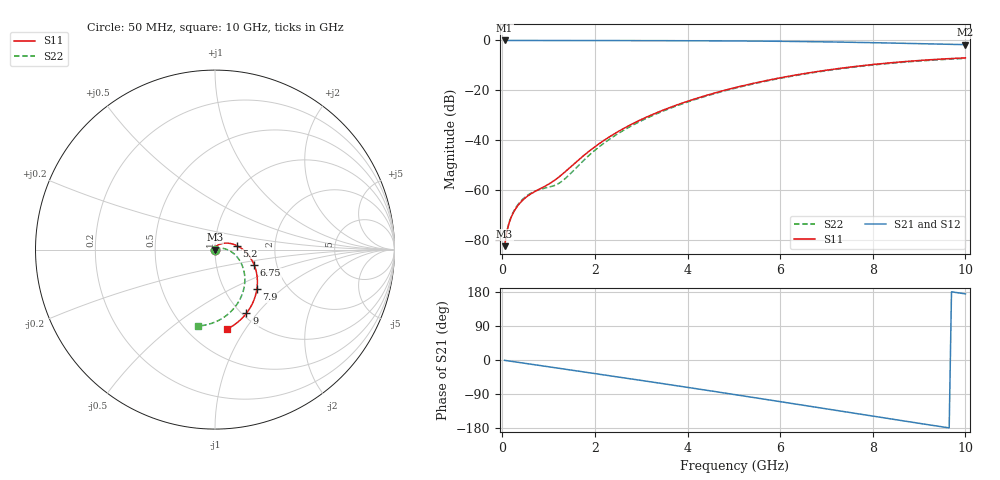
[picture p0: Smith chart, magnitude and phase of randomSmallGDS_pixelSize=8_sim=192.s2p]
! freq	dB(S11)	phase(S11)	dB(S12)	phase(S12)
!  dB(S21)	phase(S21)	dB(S22)	phase(S22)
!S-par simulation data
#  GHz  S  DB  R 50
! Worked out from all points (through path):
!   200 points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, 50 MHz to 10 GHz, reference 50 ohm
!   highest |S21| = 0.00 dB at 50 MHz (marker M1); lowest = -1.7 dB at 10 GHz (marker M2)
!   group delay of S21, straight-line fit = 51.9 ps
!   lowest |S11| = -82.6 dB at 50 MHz (marker M3), VSWR 1.00, Z = 50 - j0.00737 ohm
!   |S11| at or under -10 dB: start of sweep to 7.832 GHz
!   |S22| runs from -82.5 to -7.2 dB; largest |S21 - S12| = 0
!   S11 on the Smith chart (normalised r, x): 50 MHz: 1.00, -0.00; 5.2 GHz: 1.28, +0.06; 6.75 GHz: 1.53, -0.27; 7.9 GHz: 1.41, -0.69; 9 GHz: 1.04, -0.88; 10 GHz: 0.75, -0.83
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0.05  -82.65 -92.7  -0.00 -0.9  -0.00 -0.9  -82.46 -88.5
0.15  -73.15 -98.2  -0.00 -2.7  -0.00 -2.7  -72.92 -85.6
0.2  -70.69 -101.0  -0.00 -3.6  -0.00 -3.6  -70.43 -84.3
0.3  -67.28 -107.0  -0.01 -5.4  -0.01 -5.4  -66.95 -81.6
0.45  -64.01 -117.1  -0.01 -8.1  -0.01 -8.1  -63.63 -77.8
0.7  -60.73 -138.3  -0.02 -12.6  -0.02 -12.6  -60.60 -70.0
1.25  -54.46 155.8  -0.03 -22.4  -0.03 -22.4  -57.07 -23.3
1.75  -46.36 111.0  -0.04 -31.3  -0.04 -31.3  -48.29 15.3
2.1  -41.37 92.2  -0.04 -37.6  -0.04 -37.6  -42.61 21.6
2.45  -37.16 78.3  -0.05 -43.9  -0.05 -43.9  -38.00 21.8
2.9  -32.66 64.0  -0.06 -52.0  -0.06 -52.0  -33.22 18.3
3.4  -28.53 50.6  -0.08 -61.1  -0.08 -61.1  -28.93 12.3
4.25  -22.94 30.7  -0.12 -76.8  -0.12 -76.8  -23.22 -0.1
5.05  -18.84 13.4  -0.20 -91.8  -0.20 -91.8  -19.07 -13.2
5.2  -18.17 10.3  -0.21 -94.6  -0.21 -94.6  -18.39 -15.8
5.95  -15.19 -5.1  -0.33 -108.9  -0.33 -108.9  -15.39 -28.9
6.7  -12.77 -20.2  -0.49 -123.3  -0.49 -123.3  -12.97 -42.4
6.75  -12.63 -21.2  -0.50 -124.3  -0.50 -124.3  -12.82 -43.3
7.9  -9.86 -43.5  -0.85 -146.4  -0.85 -146.4  -10.06 -64.4
8.35  -9.03 -51.9  -1.02 -154.9  -1.02 -154.9  -9.23 -72.6
9  -8.05 -63.8  -1.28 -167.1  -1.28 -167.1  -8.26 -84.4
10  -6.99 -81.2  -1.68 174.5  -1.68 174.5  -7.22 -102.3
